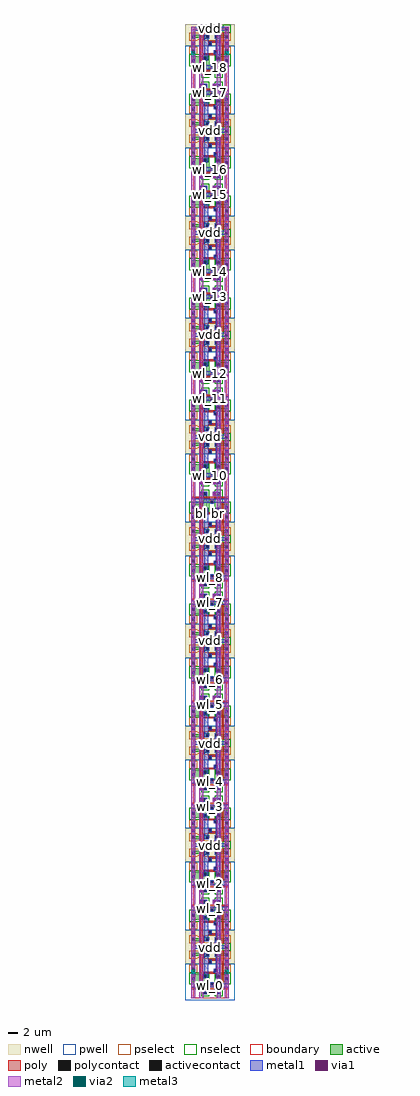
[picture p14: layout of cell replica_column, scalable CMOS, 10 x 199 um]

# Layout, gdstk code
import gdstk
lib = gdstk.Library(unit=1e-6, precision=1e-09)
def R(c, l, rs):  # rectangles x0, y0, x1, y1
    for r in rs: c.add(gdstk.rectangle(r[:2], r[2:], *l))
def A(c, l, x, y, w, h, nx, ny, dx, dy):  # array of equal rectangles
    R(c, l, [(x+i*dx, y+j*dy, x+i*dx+w, y+j*dy+h) for i in range(nx) for j in range(ny)])
pwell = (41, 0)
nwell = (42, 0)
active = (43, 0)
pselect = (44, 0)
nselect = (45, 0)
poly = (46, 0)
polycontact = (47, 0)
activecontact = (48, 0)
metal1 = (49, 0)
via1 = (50, 0)
metal2 = (51, 0)
via2 = (61, 0)
metal3 = (62, 0)
boundary = (63, 0)

dummy_cell_6t = lib.new_cell('dummy_cell_6t')
R(dummy_cell_6t, pwell, [(-1.6,-0.4,8.4,7)])
R(dummy_cell_6t, nwell, [(-1.6,7,8.4,11.4)])
A(dummy_cell_6t, active, 2.4, 8.4, 0.8, 0.2, 3, 1, 2, 0)
R(dummy_cell_6t, active, [(2,0.8,2.8,3.2), (4.8,0.8,5.6,3.2), (-0.4,3.2,2.8,4.8), (4.8,3.2,7.2,4.8), (-0.4,5.6,0.4,6.4), (6.4,5.6,7.2,6.4), (-0.4,8.4,0.4,8.6), (-0.4,8.6,3.2,9.2), (4.4,8.6,7.2,9.2), (6.4,10,7.2,10.8)])
R(dummy_cell_6t, pselect, [(-0.8,5.2,0.8,6.8), (6,5.2,7.6,6.8), (-0.8,8,0.8,8.2), (2,8,7.6,8.2), (-0.8,8.2,7.6,9.6)])
R(dummy_cell_6t, nselect, [(1.6,0.4,3.2,2.8), (4.4,0.4,6,2.8), (-0.8,2.8,3.2,5.2), (4.4,2.8,7.6,5.2), (6,9.6,7.6,11.2)])
R(dummy_cell_6t, poly, [(-0.4,1.8,7.2,2.2), (3.4,2.2,4.2,3.2), (1.4,2.8,1.8,5), (5.8,2.8,6.2,7.6), (1.4,5,4.8,5.2), (1.4,5.2,5,5.4), (1.4,5.4,1.8,8.2), (4.2,5.4,5,6), (3,7,3.8,7.6), (3,7.6,6.2,8), (5.4,8,6.2,9.6), (1.4,8.2,2.2,9.6)])
R(dummy_cell_6t, polycontact, [(3.6,2.6,4,3), (4.4,5.4,4.8,5.8), (3.2,7.2,3.6,7.6)])
A(dummy_cell_6t, activecontact, 2.6, 8.6, 0.4, 0.4, 3, 1, 2, 0)
R(dummy_cell_6t, activecontact, [(2.2,1,2.6,1.4), (5,1,5.4,1.4), (-0.2,3.8,0.2,4.2), (6.6,3.8,7,4.2), (2.2,4.2,2.6,4.6), (5,4.2,5.4,4.6), (-0.2,5.8,0.2,6.2), (6.6,5.8,7,6.2), (-0.2,8.6,0.2,9), (6.6,10.2,7,10.6)])
R(dummy_cell_6t, metal1, [(2,0.8,2.8,1.6), (4.8,0.8,5.6,1.6), (-0.4,2.2,7.2,3), (-0.4,2.2,7.2,3), (3.4,3,4.2,3.2), (-0.4,3.6,0.4,7.8), (6.4,3.6,7.2,7.8), (2,4,3,4.8), (4.6,4,5.6,4.8), (2.2,4.8,3,7), (4.6,4.8,5.4,5.2), (4.2,5.2,5.4,6), (4.6,6,5.4,8.4), (2.2,7,3.8,7.8), (2.2,7.8,3,8.4), (-0.4,8.4,0.4,10), (2.2,8.4,3.2,9.2), (4.4,8.4,5.4,9.2), (6.4,8.4,7.2,10), (-0.4,10,7.2,10.8)])
R(dummy_cell_6t, via1, [(-0.2,7.2,0.2,7.6), (6.6,7.2,7,7.6), (3.2,10.2,3.6,10.6)])
R(dummy_cell_6t, metal2, [(-0.4,0,0.4,10.8), (-0.4,0,0.4,10.8), (1.2,0,2,10.8), (1.2,0,2,10.8), (4.8,0,5.6,10.8), (4.8,0,5.6,10.8), (6.4,0,7.2,10.8), (6.4,0,7.2,10.8), (3,10,3.8,10.8), (3,10,3.8,10.8)])
R(dummy_cell_6t, boundary, [(0,0,6.8,10.4)])
dummy_cell_6t.add(gdstk.Label('gnd', (0,1.2), layer=51, texttype=0))
dummy_cell_6t.add(gdstk.Label('gnd', (6.8,1.2), layer=51, texttype=0))
dummy_cell_6t.add(gdstk.Label('vdd', (3.4,10.4), layer=51, texttype=0))
dummy_cell_6t.add(gdstk.Label('bl', (1.6,9.8), layer=51, texttype=0))
dummy_cell_6t.add(gdstk.Label('br', (5.2,9.8), layer=51, texttype=0))
dummy_cell_6t.add(gdstk.Label('wl', (0.8,2.6), layer=49, texttype=0))
dummy_cell_6t.add(gdstk.Label('bl', (1.6,5.4), layer=51, texttype=0))
dummy_cell_6t.add(gdstk.Label('br', (5.2,5.4), layer=51, texttype=0))
dummy_cell_6t.add(gdstk.Label('wl', (3.4,2.6), layer=49, texttype=0))
dummy_cell_6t.add(gdstk.Label('vdd', (3.4,10.4), layer=51, texttype=0))
dummy_cell_6t.add(gdstk.Label('gnd', (0,5.4), layer=51, texttype=0))
dummy_cell_6t.add(gdstk.Label('gnd', (6.8,5.4), layer=51, texttype=0))

replica_cell_6t = lib.new_cell('replica_cell_6t')
R(replica_cell_6t, pwell, [(-1.6,-0.4,8.4,7)])
R(replica_cell_6t, nwell, [(-1.6,7,8.4,11.4)])
A(replica_cell_6t, active, 2.4, 8.4, 0.8, 0.2, 3, 1, 2, 0)
R(replica_cell_6t, active, [(2,0.8,2.8,3.2), (4.8,0.8,5.6,3.2), (-0.4,3.2,2.8,4.8), (4.8,3.2,7.2,4.8), (-0.4,5.6,0.4,6.4), (6.4,5.6,7.2,6.4), (-0.4,8.4,0.4,8.6), (-0.4,8.6,3.2,9.2), (4.4,8.6,7.2,9.2), (6.4,10,7.2,10.8)])
R(replica_cell_6t, pselect, [(-0.8,5.2,0.8,6.8), (6,5.2,7.6,6.8), (-0.8,8,0.8,8.2), (2,8,7.6,8.2), (-0.8,8.2,7.6,9.6)])
R(replica_cell_6t, nselect, [(1.6,0.4,3.2,2.8), (4.4,0.4,6,2.8), (-0.8,2.8,3.2,5.2), (4.4,2.8,7.6,5.2), (6,9.6,7.6,11.2)])
R(replica_cell_6t, poly, [(-0.4,1.8,7.2,2.2), (3.4,2.2,4.2,3.2), (1.4,2.8,1.8,5), (5.8,2.8,6.2,7.6), (1.4,5,4.8,5.2), (1.4,5.2,5,5.4), (1.4,5.4,1.8,8.2), (4.2,5.4,5,6), (3,7,3.8,7.6), (3,7.6,6.2,8), (5.4,8,6.2,9.6), (1.4,8.2,2.2,9.6)])
R(replica_cell_6t, polycontact, [(3.6,2.6,4,3), (4.4,5.4,4.8,5.8), (3.2,7.2,3.6,7.6)])
A(replica_cell_6t, activecontact, 2.6, 8.6, 0.4, 0.4, 3, 1, 2, 0)
R(replica_cell_6t, activecontact, [(2.2,1,2.6,1.4), (5,1,5.4,1.4), (-0.2,3.8,0.2,4.2), (6.6,3.8,7,4.2), (2.2,4.2,2.6,4.6), (5,4.2,5.4,4.6), (-0.2,5.8,0.2,6.2), (6.6,5.8,7,6.2), (-0.2,8.6,0.2,9), (6.6,10.2,7,10.6)])
R(replica_cell_6t, metal1, [(1.2,0.8,2.8,1.6), (4,0.8,5.6,1.6), (-0.4,2.2,7.2,3), (-0.4,2.2,7.2,3), (3.4,3,4.2,3.2), (-0.4,3.6,0.4,7.8), (6.4,3.6,7.2,7.8), (2,4,3,4.8), (4.6,4,5.6,4.8), (2.2,4.8,3,7), (4.6,4.8,5.4,5.2), (4.2,5.2,5.4,6), (4.6,6,5.4,8.4), (2.2,7,3.8,7.8), (2.2,7.8,3,8.4), (-0.4,8.4,0.4,10), (2.2,8.4,3.2,9.2), (4.4,8.4,5.4,9.2), (6.4,8.4,7.2,10), (4.4,9.2,5.2,10), (-0.4,10,7.2,10.8)])
R(replica_cell_6t, via1, [(1.4,1,1.8,1.4), (4.2,1,4.6,1.4), (-0.2,7.2,0.2,7.6), (6.6,7.2,7,7.6), (3.2,10.2,3.6,10.6)])
R(replica_cell_6t, metal2, [(-0.4,0,0.4,10.8), (-0.4,0,0.4,10.8), (1.2,0,2,10.8), (1.2,0,2,10.8), (4.8,0,5.6,0.8), (6.4,0,7.2,10.8), (6.4,0,7.2,10.8), (4,0.8,5.6,1.6), (4.8,1.6,5.6,10.8), (4.8,1.6,5.6,10.8), (3,10,3.8,10.8), (3,10,3.8,10.8)])
R(replica_cell_6t, boundary, [(0,0,6.8,10.4)])
replica_cell_6t.add(gdstk.Label('gnd', (0,1.2), layer=51, texttype=0))
replica_cell_6t.add(gdstk.Label('gnd', (6.8,1.2), layer=51, texttype=0))
replica_cell_6t.add(gdstk.Label('vdd', (3.4,10.4), layer=51, texttype=0))
replica_cell_6t.add(gdstk.Label('bl', (1.6,9.8), layer=51, texttype=0))
replica_cell_6t.add(gdstk.Label('br', (5.2,9.8), layer=51, texttype=0))
replica_cell_6t.add(gdstk.Label('wl', (0.8,2.6), layer=49, texttype=0))
replica_cell_6t.add(gdstk.Label('Q', (3.4,7.4), layer=49, texttype=0))
replica_cell_6t.add(gdstk.Label('Q_bar', (4.6,5.6), layer=49, texttype=0))
replica_cell_6t.add(gdstk.Label('bl', (1.6,5.4), layer=51, texttype=0))
replica_cell_6t.add(gdstk.Label('br', (5.2,6.2), layer=51, texttype=0))
replica_cell_6t.add(gdstk.Label('wl', (3.4,2.6), layer=49, texttype=0))
replica_cell_6t.add(gdstk.Label('vdd', (3.4,10.4), layer=51, texttype=0))
replica_cell_6t.add(gdstk.Label('gnd', (0,5.4), layer=51, texttype=0))
replica_cell_6t.add(gdstk.Label('gnd', (6.8,5.4), layer=51, texttype=0))

contact_7 = lib.new_cell('contact_7')
R(contact_7, metal2, [(0,0,0.8,0.8)])
R(contact_7, via2, [(0.2,0.2,0.6,0.6)])
R(contact_7, metal3, [(0,0,0.8,0.8)])
R(contact_7, boundary, [(0,0,0.8,0.8)])

replica_column = lib.new_cell('replica_column')
R(replica_column, metal1, [(0,2.2,6.8,3), (0,17.8,6.8,18.6), (0,23,6.8,23.8), (0,38.6,6.8,39.4), (0,43.8,6.8,44.6), (0,59.4,6.8,60.2), (0,64.6,6.8,65.4), (0,80.2,6.8,81), (0,85.4,6.8,86.2), (0,101,6.8,101.8), (0,106.2,6.8,107), (0,121.8,6.8,122.6), (0,127,6.8,127.8), (0,142.6,6.8,143.4), (0,147.8,6.8,148.6), (0,163.4,6.8,164.2), (0,168.6,6.8,169.4), (0,184.2,6.8,185), (0,189.4,6.8,190.2)])
A(replica_column, metal2, 3, 10, 0.8, 0.8, 1, 3, 0, 20.8)
A(replica_column, metal2, 3, 51.6, 0.8, 0.8, 1, 4, 0, 20.8)
A(replica_column, metal2, 3, 134.8, 0.8, 0.8, 1, 3, 0, 20.8)
R(replica_column, metal2, [(1.2,0,2,197.6), (4.8,0,5.6,197.6), (-0.4,10,0.4,20.8), (6.4,10,7.2,20.8), (-0.4,20.8,0.4,31.6), (6.4,20.8,7.2,31.6), (-0.4,30.8,0.4,41.6), (6.4,30.8,7.2,41.6), (-0.4,41.6,0.4,52.4), (6.4,41.6,7.2,52.4), (-0.4,51.6,0.4,62.4), (6.4,51.6,7.2,62.4), (-0.4,62.4,0.4,73.2), (6.4,62.4,7.2,73.2), (-0.4,72.4,0.4,83.2), (6.4,72.4,7.2,83.2), (-0.4,83.2,0.4,94), (6.4,83.2,7.2,94), (-0.4,93.2,0.4,104), (6.4,93.2,7.2,104), (-0.4,104,0.4,114.8), (6.4,104,7.2,114.8), (-0.4,114,0.4,124.8), (3,114,3.8,114.8), (6.4,114,7.2,124.8), (-0.4,124.8,0.4,135.6), (6.4,124.8,7.2,135.6), (-0.4,134.8,0.4,145.6), (3,134.8,3.8,135.6), (6.4,134.8,7.2,145.6), (-0.4,145.6,0.4,156.4), (6.4,145.6,7.2,156.4), (-0.4,155.6,0.4,166.4), (6.4,155.6,7.2,166.4), (-0.4,166.4,0.4,177.2), (6.4,166.4,7.2,177.2), (-0.4,176.4,0.4,187.2), (6.4,176.4,7.2,187.2)])
R(replica_column, metal3, [(-0.4,5,0.4,5.8), (6.4,5,7.2,5.8), (3,10,3.8,10.8), (-0.4,192.2,0.4,193), (6.4,192.2,7.2,193), (3,197.2,3.8,198)])
R(replica_column, boundary, [(0,0,6.8,197.6)])
replica_column.add(gdstk.Reference(dummy_cell_6t, (0,0)))
replica_column.add(gdstk.Reference(replica_cell_6t, (0,20.8), x_reflection=True))
replica_column.add(gdstk.Reference(replica_cell_6t, (0,20.8)))
replica_column.add(gdstk.Reference(replica_cell_6t, (0,41.6), x_reflection=True))
replica_column.add(gdstk.Reference(replica_cell_6t, (0,41.6)))
replica_column.add(gdstk.Reference(replica_cell_6t, (0,62.4), x_reflection=True))
replica_column.add(gdstk.Reference(replica_cell_6t, (0,62.4)))
replica_column.add(gdstk.Reference(replica_cell_6t, (0,83.2), x_reflection=True))
replica_column.add(gdstk.Reference(replica_cell_6t, (0,83.2)))
replica_column.add(gdstk.Reference(replica_cell_6t, (0,104), x_reflection=True))
replica_column.add(gdstk.Reference(replica_cell_6t, (0,104)))
replica_column.add(gdstk.Reference(replica_cell_6t, (0,124.8), x_reflection=True))
replica_column.add(gdstk.Reference(replica_cell_6t, (0,124.8)))
replica_column.add(gdstk.Reference(replica_cell_6t, (0,145.6), x_reflection=True))
replica_column.add(gdstk.Reference(replica_cell_6t, (0,145.6)))
replica_column.add(gdstk.Reference(replica_cell_6t, (0,166.4), x_reflection=True))
replica_column.add(gdstk.Reference(replica_cell_6t, (0,166.4)))
replica_column.add(gdstk.Reference(replica_cell_6t, (0,187.2), x_reflection=True))
replica_column.add(gdstk.Reference(dummy_cell_6t, (0,187.2)))
replica_column.add(gdstk.Reference(contact_7, (3,10)))
replica_column.add(gdstk.Reference(contact_7, (-0.4,5)))
replica_column.add(gdstk.Reference(contact_7, (6.4,5)))
replica_column.add(gdstk.Reference(contact_7, (3,197.2)))
replica_column.add(gdstk.Reference(contact_7, (-0.4,192.2)))
replica_column.add(gdstk.Reference(contact_7, (6.4,192.2)))
replica_column.add(gdstk.Label('bl', (1.6,98.8), layer=51, texttype=0))
replica_column.add(gdstk.Label('br', (5.2,98.8), layer=51, texttype=0))
replica_column.add(gdstk.Label('wl_0', (3.4,2.6), layer=49, texttype=0))
replica_column.add(gdstk.Label('wl_1', (3.4,18.2), layer=49, texttype=0))
replica_column.add(gdstk.Label('wl_2', (3.4,23.4), layer=49, texttype=0))
replica_column.add(gdstk.Label('wl_3', (3.4,39), layer=49, texttype=0))
replica_column.add(gdstk.Label('wl_4', (3.4,44.2), layer=49, texttype=0))
replica_column.add(gdstk.Label('wl_5', (3.4,59.8), layer=49, texttype=0))
replica_column.add(gdstk.Label('wl_6', (3.4,65), layer=49, texttype=0))
replica_column.add(gdstk.Label('wl_7', (3.4,80.6), layer=49, texttype=0))
replica_column.add(gdstk.Label('wl_8', (3.4,85.8), layer=49, texttype=0))
replica_column.add(gdstk.Label('wl_9', (3.4,101.4), layer=49, texttype=0))
replica_column.add(gdstk.Label('wl_10', (3.4,106.6), layer=49, texttype=0))
replica_column.add(gdstk.Label('wl_11', (3.4,122.2), layer=49, texttype=0))
replica_column.add(gdstk.Label('wl_12', (3.4,127.4), layer=49, texttype=0))
replica_column.add(gdstk.Label('wl_13', (3.4,143), layer=49, texttype=0))
replica_column.add(gdstk.Label('wl_14', (3.4,148.2), layer=49, texttype=0))
replica_column.add(gdstk.Label('wl_15', (3.4,163.8), layer=49, texttype=0))
replica_column.add(gdstk.Label('wl_16', (3.4,169), layer=49, texttype=0))
replica_column.add(gdstk.Label('wl_17', (3.4,184.6), layer=49, texttype=0))
replica_column.add(gdstk.Label('wl_18', (3.4,189.8), layer=49, texttype=0))
replica_column.add(gdstk.Label('vdd', (3.4,10.4), layer=62, texttype=0))
replica_column.add(gdstk.Label('vdd', (3.4,135.2), layer=51, texttype=0))
replica_column.add(gdstk.Label('vdd', (3.4,114.4), layer=51, texttype=0))
replica_column.add(gdstk.Label('vdd', (3.4,135.2), layer=51, texttype=0))
replica_column.add(gdstk.Label('vdd', (3.4,156), layer=51, texttype=0))
replica_column.add(gdstk.Label('vdd', (3.4,197.6), layer=62, texttype=0))
replica_column.add(gdstk.Label('vdd', (3.4,72.8), layer=51, texttype=0))
replica_column.add(gdstk.Label('vdd', (3.4,31.2), layer=51, texttype=0))
replica_column.add(gdstk.Label('vdd', (3.4,93.6), layer=51, texttype=0))
replica_column.add(gdstk.Label('vdd', (3.4,176.8), layer=51, texttype=0))
replica_column.add(gdstk.Label('vdd', (3.4,52), layer=51, texttype=0))
replica_column.add(gdstk.Label('vdd', (3.4,10.4), layer=51, texttype=0))
replica_column.add(gdstk.Label('vdd', (3.4,52), layer=51, texttype=0))
replica_column.add(gdstk.Label('vdd', (3.4,114.4), layer=51, texttype=0))
replica_column.add(gdstk.Label('gnd', (6.8,109.4), layer=51, texttype=0))
replica_column.add(gdstk.Label('gnd', (0,181.8), layer=51, texttype=0))
replica_column.add(gdstk.Label('gnd', (0,77.8), layer=51, texttype=0))
replica_column.add(gdstk.Label('gnd', (6.8,181.8), layer=51, texttype=0))
replica_column.add(gdstk.Label('gnd', (0,47), layer=51, texttype=0))
replica_column.add(gdstk.Label('gnd', (0,15.4), layer=51, texttype=0))
replica_column.add(gdstk.Label('gnd', (6.8,57), layer=51, texttype=0))
replica_column.add(gdstk.Label('gnd', (6.8,171.8), layer=51, texttype=0))
replica_column.add(gdstk.Label('gnd', (6.8,192.6), layer=62, texttype=0))
replica_column.add(gdstk.Label('gnd', (0,88.6), layer=51, texttype=0))
replica_column.add(gdstk.Label('gnd', (0,171.8), layer=51, texttype=0))
replica_column.add(gdstk.Label('gnd', (0,57), layer=51, texttype=0))
replica_column.add(gdstk.Label('gnd', (0,109.4), layer=51, texttype=0))
replica_column.add(gdstk.Label('gnd', (0,161), layer=51, texttype=0))
replica_column.add(gdstk.Label('gnd', (0,67.8), layer=51, texttype=0))
replica_column.add(gdstk.Label('gnd', (0,36.2), layer=51, texttype=0))
replica_column.add(gdstk.Label('gnd', (6.8,161), layer=51, texttype=0))
replica_column.add(gdstk.Label('gnd', (0,98.6), layer=51, texttype=0))
replica_column.add(gdstk.Label('gnd', (0,192.6), layer=62, texttype=0))
replica_column.add(gdstk.Label('gnd', (6.8,26.2), layer=51, texttype=0))
replica_column.add(gdstk.Label('gnd', (6.8,47), layer=51, texttype=0))
replica_column.add(gdstk.Label('gnd', (6.8,151), layer=51, texttype=0))
replica_column.add(gdstk.Label('gnd', (6.8,77.8), layer=51, texttype=0))
replica_column.add(gdstk.Label('gnd', (0,130.2), layer=51, texttype=0))
replica_column.add(gdstk.Label('gnd', (6.8,36.2), layer=51, texttype=0))
replica_column.add(gdstk.Label('gnd', (6.8,15.4), layer=51, texttype=0))
replica_column.add(gdstk.Label('gnd', (6.8,88.6), layer=51, texttype=0))
replica_column.add(gdstk.Label('gnd', (6.8,5.4), layer=62, texttype=0))
replica_column.add(gdstk.Label('gnd', (6.8,67.8), layer=51, texttype=0))
replica_column.add(gdstk.Label('gnd', (0,140.2), layer=51, texttype=0))
replica_column.add(gdstk.Label('gnd', (0,26.2), layer=51, texttype=0))
replica_column.add(gdstk.Label('gnd', (6.8,98.6), layer=51, texttype=0))
replica_column.add(gdstk.Label('gnd', (6.8,130.2), layer=51, texttype=0))
replica_column.add(gdstk.Label('gnd', (0,119.4), layer=51, texttype=0))
replica_column.add(gdstk.Label('gnd', (6.8,140.2), layer=51, texttype=0))
replica_column.add(gdstk.Label('gnd', (0,151), layer=51, texttype=0))
replica_column.add(gdstk.Label('gnd', (0,5.4), layer=62, texttype=0))
replica_column.add(gdstk.Label('gnd', (6.8,119.4), layer=51, texttype=0))

lib.write_gds('replica_column.gds')
